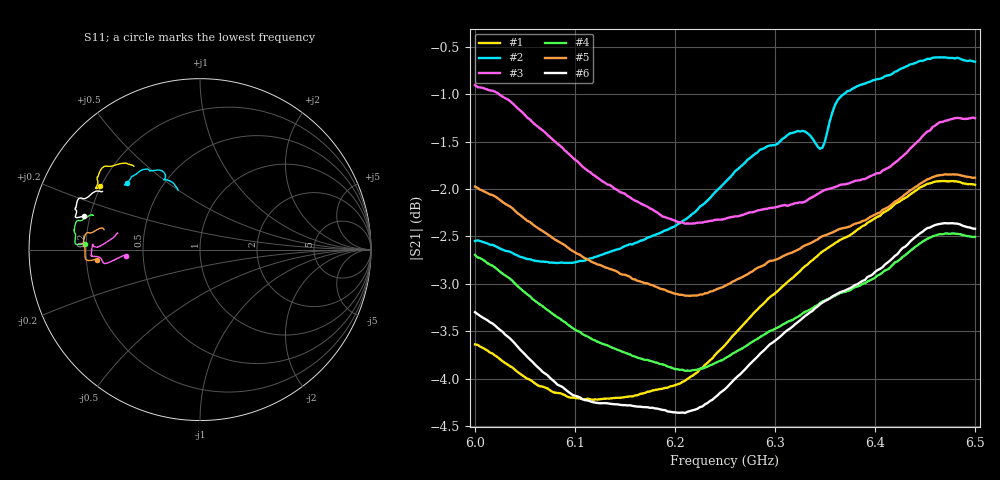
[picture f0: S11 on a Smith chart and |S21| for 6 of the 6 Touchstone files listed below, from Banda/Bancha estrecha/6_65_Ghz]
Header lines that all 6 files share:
! MS46122B
! 1919307/90821646
! CHANNEL.1
! TR.MEASUREMENT
! CORRECTED.DATA
# GHZ S RI R 50.0
! FREQ.GHZ  S11RE  S11IM  S21RE  S21IM  S12RE  S12IM  S22RE  S22IM
!; PortSelection: Port_12
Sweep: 6 GHz to 6.5 GHz
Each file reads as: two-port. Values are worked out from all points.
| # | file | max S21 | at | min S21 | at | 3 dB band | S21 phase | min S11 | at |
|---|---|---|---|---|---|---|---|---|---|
| 1 | s11_s21_abs10_1002cLC.s2p | -1.92 dB | 6.47 GHz | -4.2 dB | 6.117 GHz | 6 GHz-6.5 GHz | -126 deg at 6.25 GHz | -4.1 dB | 6.5 GHz |
| 2 | s11_s21_abs12_1002cLC.s2p | -0.61 dB | 6.465 GHz | -2.8 dB | 6.082 GHz | 6 GHz-6.5 GHz | -141 deg at 6.25 GHz | -8.6 dB | 6.5 GHz |
| 3 | s11_s21_abs44_502cLC.s2p | -0.90 dB | 6 GHz | -2.4 dB | 6.215 GHz | 6 GHz-6.5 GHz | -85 deg at 6.25 GHz | -7.2 dB | 6 GHz |
| 4 | s11_s21_abs44_1002cLC.s2p | -2.47 dB | 6.478 GHz | -3.9 dB | 6.215 GHz | 6 GHz-6.5 GHz | -99 deg at 6.25 GHz | -3.7 dB | 6.5 GHz |
| 5 | s11_s21_abs65_502cLC.s2p | -1.84 dB | 6.47 GHz | -3.1 dB | 6.215 GHz | 6 GHz-6.5 GHz | -95 deg at 6.25 GHz | -4.8 dB | 6.5 GHz |
| 6 | s11_s21_abs65_1002cLC.s2p | -2.36 dB | 6.47 GHz | -4.4 dB | 6.21 GHz | 6 GHz-6.5 GHz | -111 deg at 6.25 GHz | -3.6 dB | 6.49 GHz |
